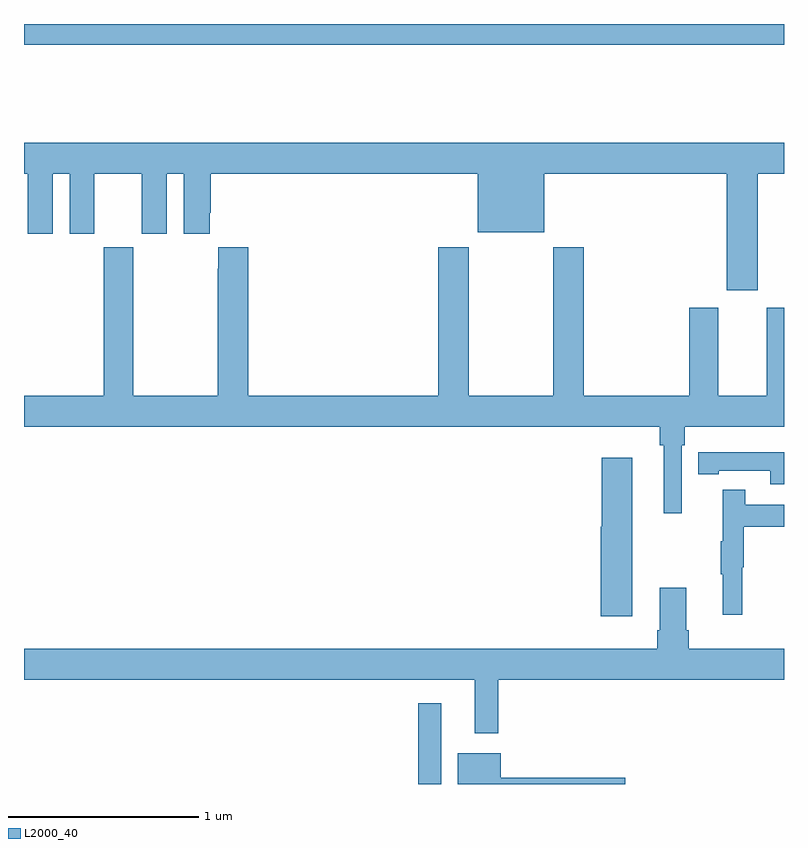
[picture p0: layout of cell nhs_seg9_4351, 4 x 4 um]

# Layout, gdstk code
import gdstk
lib = gdstk.Library(unit=1e-6, precision=1e-09)
def R(c, l, rs):  # rectangles x0, y0, x1, y1
    for r in rs: c.add(gdstk.rectangle(r[:2], r[2:], *l))
def P(c, l, *ps):  # polygons
    for p in ps: c.add(gdstk.Polygon(p, *l))
L2000_40 = (2000, 40)

nhs_seg9_4351 = lib.new_cell('nhs_seg9_4351')
R(nhs_seg9_4351, L2000_40, [(361.074,1234.5,361.195,1234.924), (359,1238.392,363,1238.5)])
P(nhs_seg9_4351, L2000_40, [(362.863,1237.712),(363,1237.712),(363,1237.876),(359,1237.876),(359,1237.712),(359.021,1237.712),(359.021,1237.395),(359.152,1237.395),(359.152,1237.712),(359.24,1237.712),(359.24,1237.395),(359.371,1237.395),(359.371,1237.712),(359.621,1237.712),(359.621,1237.395),(359.752,1237.395),(359.752,1237.712),(359.84,1237.712),(359.84,1237.395),(359.977,1237.395),(359.977,1237.507),(359.984,1237.507),(359.984,1237.712),(361.388,1237.712),(361.388,1237.403),(361.738,1237.403),(361.738,1237.712),(362.699,1237.712),(362.699,1237.098),(362.863,1237.098)],
  [(362.463,1236.284),(362.477,1236.284),(362.477,1236.38),(363,1236.38),(363,1237.006),(362.909,1237.006),(362.909,1236.544),(362.653,1236.544),(362.653,1237.006),(362.501,1237.006),(362.501,1236.544),(361.946,1236.544),(361.946,1237.324),(361.786,1237.324),(361.786,1236.544),(361.341,1236.544),(361.341,1237.324),(361.181,1237.324),(361.181,1236.544),(360.179,1236.544),(360.179,1237.324),(360.023,1237.324),(360.023,1237.211),(360.019,1237.211),(360.019,1236.544),(359.574,1236.544),(359.574,1237.324),(359.419,1237.324),(359.419,1236.544),(359,1236.544),(359,1236.38),(362.347,1236.38),(362.347,1236.284),(362.366,1236.284),(362.366,1235.925),(362.463,1235.925)],
  [(363,1236.247),(362.656,1236.247),(362.656,1236.246),(362.548,1236.246),(362.548,1236.13),(362.656,1236.13),(362.656,1236.15),(362.928,1236.15),(362.928,1236.078),(363,1236.078)],
  [(362.2,1236.217),(362.042,1236.217),(362.042,1235.853),(362.036,1235.853),(362.036,1235.382),(362.2,1235.382)],
  [(362.78,1235.64),(362.788,1235.64),(362.788,1235.854),(363,1235.854),(363,1235.97),(362.795,1235.97),(362.795,1236.049),(362.678,1236.049),(362.678,1235.777),(362.667,1235.777),(362.667,1235.603),(362.678,1235.603),(362.678,1235.391),(362.78,1235.391)],
  [(361.495,1235.048),(363,1235.048),(363,1235.212),(362.498,1235.212),(362.498,1235.308),(362.485,1235.308),(362.485,1235.533),(362.345,1235.533),(362.345,1235.308),(362.333,1235.308),(362.333,1235.212),(359,1235.212),(359,1235.048),(361.373,1235.048),(361.373,1234.767),(361.495,1234.767)],
  [(362.164,1234.532),(361.51,1234.532),(361.51,1234.663),(361.283,1234.663),(361.283,1234.5),(362.164,1234.5)])

lib.write_gds('nhs_seg9_4351.gds')
